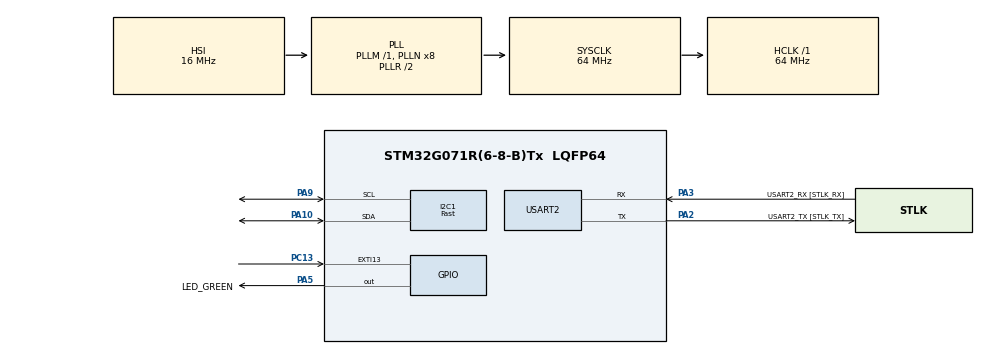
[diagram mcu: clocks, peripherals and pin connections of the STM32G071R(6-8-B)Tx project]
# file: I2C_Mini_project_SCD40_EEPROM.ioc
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I2C1.I2C_Speed_Mode=I2C_Fast
I2C1.Timing=0x00C12166
Mcu.Family=STM32G0
Mcu.Name=STM32G071R(6-8-B)Tx
Mcu.Package=LQFP64
NVIC.EXTI4_15_IRQn=true\:0\:0\:false\:false\:true\:true\:true\:true
PA10.Mode=I2C
PA10.Signal=I2C1_SDA
PA13.GPIO_Label=TMS
PA13.Mode=Serial_Wire
PA13.Signal=SYS_SWDIO
PA14-BOOT0.GPIO_Label=TCK
PA14-BOOT0.Mode=Serial_Wire
PA14-BOOT0.Signal=SYS_SWCLK
PA2.GPIO_Label=USART2_TX [STLK_TX]
PA2.GPIO_PuPd=GPIO_PULLUP
PA2.Mode=Asynchronous
PA2.Signal=USART2_TX
PA3.GPIO_Label=USART2_RX [STLK_RX]
PA3.GPIO_PuPd=GPIO_PULLUP
PA3.Mode=Asynchronous
PA3.Signal=USART2_RX
PA5.GPIO_Label=LED_GREEN
PA5.GPIO_Speed=GPIO_SPEED_FREQ_HIGH
PA5.Signal=GPIO_Output
PA9.Mode=I2C
PA9.Signal=I2C1_SCL
PC13.Signal=GPXTI13
PC14-OSC32_IN\ (PC14).Mode=LSE-External-Oscillator
PC14-OSC32_IN\ (PC14).Signal=RCC_OSC32_IN
PC15-OSC32_OUT\ (PC15).Mode=LSE-External-Oscillator
PC15-OSC32_OUT\ (PC15).Signal=RCC_OSC32_OUT
PF0-OSC_IN\ (PF0).GPIO_Label=MCO
PF0-OSC_IN\ (PF0).Mode=HSE-External-Oscillator
PF0-OSC_IN\ (PF0).Signal=RCC_OSC_IN
PF1-OSC_OUT\ (PF1).Mode=HSE-External-Oscillator
PF1-OSC_OUT\ (PF1).Signal=RCC_OSC_OUT
ProjectManager.HeapSize=0x200
ProjectManager.StackSize=0x400
ProjectManager.TargetToolchain=STM32CubeIDE
RCC.ADCFreq_Value=64000000
RCC.AHBFreq_Value=64000000
RCC.CortexFreq_Value=64000000
RCC.EXTERNAL_CLOCK_VALUE=12288000
RCC.HCLKFreq_Value=64000000
RCC.HSE_VALUE=8000000
RCC.HSI_VALUE=16000000
RCC.RTCClockSelection=RCC_RTCCLKSOURCE_LSE
RCC.SYSCLKFreq_VALUE=64000000
RCC.SYSCLKSource=RCC_SYSCLKSOURCE_PLLCLK
RCC.VCOOutputFreq_Value=128000000
USART2.VirtualMode-Asynchronous=VM_ASYNC
VP_RTC_VS_RTC_Activate.Mode=RTC_Enabled
board=NUCLEO-G071RB

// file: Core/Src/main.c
/* USER CODE BEGIN Header */
/**
  ******************************************************************************
  * @file           : main.c
  * @brief          : Main program body
  ******************************************************************************
  * @attention
  *
  * Copyright (c) 2026 STMicroelectronics.
  * All rights reserved.
  *
  * This software is licensed under terms that can be found in the LICENSE file
  * in the root directory of this software component.
  * If no LICENSE file comes with this software, it is provided AS-IS.
  *
  ******************************************************************************
  */
/* USER CODE END Header */
#include "main.h"

/* USER CODE BEGIN Includes */
#include "ee24.h"
#include "scd4x_i2c.h"
#include "sensirion_i2c_hal.h"
#include <stdio.h>
#include <string.h>
/* USER CODE END Includes */

/* USER CODE BEGIN PD */
#define EEPROM_MAX_ADDRESS 0x8000//32kb for now, true max is 256kb
/* USER CODE END PD */

I2C_HandleTypeDef hi2c1;

RTC_HandleTypeDef hrtc;

UART_HandleTypeDef huart2;

/* USER CODE BEGIN PV */
EE24_HandleTypeDef ee24;

RTC_TimeTypeDef gTime;
RTC_TimeTypeDef gDate;

uint32_t debounce_time=0;
uint32_t last_time=0;

volatile int flag=0;

char data_received[0x8000]={'\0'}; //read eeprom and transfer it here
char data_send[100]={'\0'}; //write eeprom from thiS

uint32_t eeprom_address =0; //for circular write to eeprom

uint32_t co2=0;
float temp=0.0;
float humidity=0.0;

uint16_t co2_raw=0;
int32_t temp_raw=0;
int32_t humidity_raw=0;

uint8_t hours=0;
uint8_t minutes=0;
uint8_t seconds=0;
/* USER CODE END PV */

void SystemClock_Config(void);
static void MX_GPIO_Init(void);
static void MX_USART2_UART_Init(void);
static void MX_I2C1_Init(void);
static void MX_RTC_Init(void);

int main(void)
{

  /* MCU Configuration--------------------------------------------------------*/

  /* Reset of all peripherals, Initializes the Flash interface and the Systick. */
  HAL_Init();

  /* Configure the system clock */
  SystemClock_Config();

  /* Initialize all configured peripherals */
  MX_GPIO_Init();
  MX_USART2_UART_Init();
  MX_I2C1_Init();
  MX_RTC_Init();
  /* USER CODE BEGIN 2 */
  scd4x_init(0x62); //scd4x INIT
  scd4x_start_periodic_measurement(); //needed
  HAL_Delay(5000);

  EE24_Init(&ee24,&hi2c1,EE24_ADDRESS_DEFAULT); //eeprom init
  /* USER CODE END 2 */

  /* Infinite loop */
  while (1)
  {

    /* USER CODE BEGIN 3 */

	  if(flag==0){
		  HAL_RTC_GetDate(&hrtc, &gDate, RTC_FORMAT_BIN);
		  HAL_RTC_GetTime(&hrtc, &gTime, RTC_FORMAT_BIN);   //for timestamp
		 			      hours= gTime.Hours;
		 			      minutes=gTime.Minutes;
		 			      seconds=gTime.Seconds;

		  if(HAL_GetTick()-last_time>=5000){

			  //code here

			  scd4x_read_measurement(&co2_raw, &temp_raw, &humidity_raw);
			  	  co2=co2_raw;
			  	  temp=temp_raw/1000.0f;
			  	  humidity=humidity_raw/1000.0f;

			  	  sprintf(data_send,"Time:%02d:%02d:%02d, Co2: %ld ppm, Temp= %.2f C, Humidity= %.2f percent\r\n",hours,minutes,seconds,co2,temp,humidity);
			  	  EE24_Write(&ee24,eeprom_address,(uint8_t *)data_send,strlen(data_send),100);

			  	  eeprom_address+=strlen(data_send);

			  	  if(eeprom_address>=EEPROM_MAX_ADDRESS){ //if it overflows reset address
			  		  eeprom_address=0;
			  	  }

			  last_time=HAL_GetTick();
		  }

	  }

	  if(flag==1){
		  HAL_RTC_GetDate(&hrtc, &gDate, RTC_FORMAT_BIN);
		  HAL_RTC_GetTime(&hrtc, &gTime, RTC_FORMAT_BIN);   //for timestamp
		 			      hours= gTime.Hours;
		 			      minutes=gTime.Minutes;
		 			      seconds=gTime.Seconds;

		  EE24_Read(&ee24,0,(uint8_t*)data_received,eeprom_address,100);
		  		HAL_UART_Transmit(&huart2,(uint8_t*)data_received,eeprom_address,100);

		  		flag=0;
	  }

  }
  /* USER CODE END 3 */
}

void SystemClock_Config(void)
{
  RCC_OscInitTypeDef RCC_OscInitStruct = {0};
  RCC_ClkInitTypeDef RCC_ClkInitStruct = {0};

  /** Configure the main internal regulator output voltage
  */
  HAL_PWREx_ControlVoltageScaling(PWR_REGULATOR_VOLTAGE_SCALE1);

  /** Configure LSE Drive Capability
  */
  HAL_PWR_EnableBkUpAccess();
  __HAL_RCC_LSEDRIVE_CONFIG(RCC_LSEDRIVE_LOW);

  /** Initializes the RCC Oscillators according to the specified parameters
  * in the RCC_OscInitTypeDef structure.
  */
  RCC_OscInitStruct.OscillatorType = RCC_OSCILLATORTYPE_HSI|RCC_OSCILLATORTYPE_LSE;
  RCC_OscInitStruct.LSEState = RCC_LSE_ON;
  RCC_OscInitStruct.HSIState = RCC_HSI_ON;
  RCC_OscInitStruct.HSIDiv = RCC_HSI_DIV1;
  RCC_OscInitStruct.HSICalibrationValue = RCC_HSICALIBRATION_DEFAULT;
  RCC_OscInitStruct.PLL.PLLState = RCC_PLL_ON;
  RCC_OscInitStruct.PLL.PLLSource = RCC_PLLSOURCE_HSI;
  RCC_OscInitStruct.PLL.PLLM = RCC_PLLM_DIV1;
  RCC_OscInitStruct.PLL.PLLN = 8;
  RCC_OscInitStruct.PLL.PLLP = RCC_PLLP_DIV2;
  RCC_OscInitStruct.PLL.PLLQ = RCC_PLLQ_DIV2;
  RCC_OscInitStruct.PLL.PLLR = RCC_PLLR_DIV2;
  if (HAL_RCC_OscConfig(&RCC_OscInitStruct) != HAL_OK)
  {
    Error_Handler();
  }

  /** Initializes the CPU, AHB and APB buses clocks
  */
  RCC_ClkInitStruct.ClockType = RCC_CLOCKTYPE_HCLK|RCC_CLOCKTYPE_SYSCLK
                              |RCC_CLOCKTYPE_PCLK1;
  RCC_ClkInitStruct.SYSCLKSource = RCC_SYSCLKSOURCE_PLLCLK;
  RCC_ClkInitStruct.AHBCLKDivider = RCC_SYSCLK_DIV1;
  RCC_ClkInitStruct.APB1CLKDivider = RCC_HCLK_DIV1;

  if (HAL_RCC_ClockConfig(&RCC_ClkInitStruct, FLASH_LATENCY_2) != HAL_OK)
  {
    Error_Handler();
  }
}

static void MX_I2C1_Init(void)
{

  hi2c1.Instance = I2C1;
  hi2c1.Init.Timing = 0x00C12166;
  hi2c1.Init.OwnAddress1 = 0;
  hi2c1.Init.AddressingMode = I2C_ADDRESSINGMODE_7BIT;
  hi2c1.Init.DualAddressMode = I2C_DUALADDRESS_DISABLE;
  hi2c1.Init.OwnAddress2 = 0;
  hi2c1.Init.OwnAddress2Masks = I2C_OA2_NOMASK;
  hi2c1.Init.GeneralCallMode = I2C_GENERALCALL_DISABLE;
  hi2c1.Init.NoStretchMode = I2C_NOSTRETCH_DISABLE;
  if (HAL_I2C_Init(&hi2c1) != HAL_OK)
  {
    Error_Handler();
  }

  /** Configure Analogue filter
  */
  if (HAL_I2CEx_ConfigAnalogFilter(&hi2c1, I2C_ANALOGFILTER_ENABLE) != HAL_OK)
  {
    Error_Handler();
  }

  /** Configure Digital filter
  */
  if (HAL_I2CEx_ConfigDigitalFilter(&hi2c1, 0) != HAL_OK)
  {
    Error_Handler();
  }

}

static void MX_RTC_Init(void)
{

  /** Initialize RTC Only
  */
  hrtc.Instance = RTC;
  hrtc.Init.HourFormat = RTC_HOURFORMAT_24;
  hrtc.Init.AsynchPrediv = 127;
  hrtc.Init.SynchPrediv = 255;
  hrtc.Init.OutPut = RTC_OUTPUT_DISABLE;
  hrtc.Init.OutPutRemap = RTC_OUTPUT_REMAP_NONE;
  hrtc.Init.OutPutPolarity = RTC_OUTPUT_POLARITY_HIGH;
  hrtc.Init.OutPutType = RTC_OUTPUT_TYPE_OPENDRAIN;
  hrtc.Init.OutPutPullUp = RTC_OUTPUT_PULLUP_NONE;
  if (HAL_RTC_Init(&hrtc) != HAL_OK)
  {
    Error_Handler();
  }

}

static void MX_USART2_UART_Init(void)
{

  huart2.Instance = USART2;
  huart2.Init.BaudRate = 115200;
  huart2.Init.WordLength = UART_WORDLENGTH_8B;
  huart2.Init.StopBits = UART_STOPBITS_1;
  huart2.Init.Parity = UART_PARITY_NONE;
  huart2.Init.Mode = UART_MODE_TX_RX;
  huart2.Init.HwFlowCtl = UART_HWCONTROL_NONE;
  huart2.Init.OverSampling = UART_OVERSAMPLING_16;
  huart2.Init.OneBitSampling = UART_ONE_BIT_SAMPLE_DISABLE;
  huart2.Init.ClockPrescaler = UART_PRESCALER_DIV1;
  huart2.AdvancedInit.AdvFeatureInit = UART_ADVFEATURE_NO_INIT;
  if (HAL_UART_Init(&huart2) != HAL_OK)
  {
    Error_Handler();
  }
  if (HAL_UARTEx_SetTxFifoThreshold(&huart2, UART_TXFIFO_THRESHOLD_1_8) != HAL_OK)
  {
    Error_Handler();
  }
  if (HAL_UARTEx_SetRxFifoThreshold(&huart2, UART_RXFIFO_THRESHOLD_1_8) != HAL_OK)
  {
    Error_Handler();
  }
  if (HAL_UARTEx_DisableFifoMode(&huart2) != HAL_OK)
  {
    Error_Handler();
  }

}

static void MX_GPIO_Init(void)
{
  GPIO_InitTypeDef GPIO_InitStruct = {0};

  /* GPIO Ports Clock Enable */
  __HAL_RCC_GPIOC_CLK_ENABLE();
  __HAL_RCC_GPIOF_CLK_ENABLE();
  __HAL_RCC_GPIOA_CLK_ENABLE();

  /*Configure GPIO pin Output Level */
  HAL_GPIO_WritePin(LED_GREEN_GPIO_Port, LED_GREEN_Pin, GPIO_PIN_RESET);

  /*Configure GPIO pin : PC13 */
  GPIO_InitStruct.Pin = GPIO_PIN_13;
  GPIO_InitStruct.Mode = GPIO_MODE_IT_RISING;
  GPIO_InitStruct.Pull = GPIO_NOPULL;
  HAL_GPIO_Init(GPIOC, &GPIO_InitStruct);

  /*Configure GPIO pin : LED_GREEN_Pin */
  GPIO_InitStruct.Pin = LED_GREEN_Pin;
  GPIO_InitStruct.Mode = GPIO_MODE_OUTPUT_PP;
  GPIO_InitStruct.Pull = GPIO_NOPULL;
  GPIO_InitStruct.Speed = GPIO_SPEED_FREQ_HIGH;
  HAL_GPIO_Init(LED_GREEN_GPIO_Port, &GPIO_InitStruct);

  /* EXTI interrupt init*/
  HAL_NVIC_SetPriority(EXTI4_15_IRQn, 0, 0);
  HAL_NVIC_EnableIRQ(EXTI4_15_IRQn);

}

/* USER CODE BEGIN 4 */
void HAL_GPIO_EXTI_Rising_Callback(uint16_t GPIO_Pin){

	if(HAL_GetTick()-debounce_time>=20){
	debounce_time=HAL_GetTick();

	if(GPIO_Pin==GPIO_PIN_13){
		// ADD HERE UART AND EEPROM READ OR A FLAG
		flag=1;

	}

	}
}
/* USER CODE END 4 */

void Error_Handler(void)
{
  __disable_irq();
  while (1)
  {
  }
}
